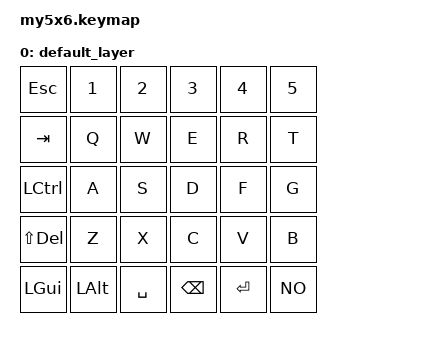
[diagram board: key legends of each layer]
/dts-v1/;
#include <dt-bindings/zmk/keys.h>
#include <dt-bindings/zmk/bt.h>

/ {
    behaviors {
        default_layer {
            compatible = "zmk,behavior-layers";
            #binding-cells = <0>;
            layers = <0>;
        };
    };

    keymap {
        compatible = "zmk,keymap";

        default_layer {
            bindings = <
                &kp ESC   &kp N1    &kp N2    &kp N3    &kp N4    &kp N5
                &kp TAB   &kp Q     &kp W     &kp E     &kp R     &kp T
                &kp LCTL  &kp A     &kp S     &kp D     &kp F     &kp G
                &kp LS(DEL) &kp Z   &kp X     &kp C     &kp V     &kp B
                &kp LGUI  &kp LALT  &kp SPACE &kp BSPC  &kp RET   &kp NO
            >;
        };
    };
};
